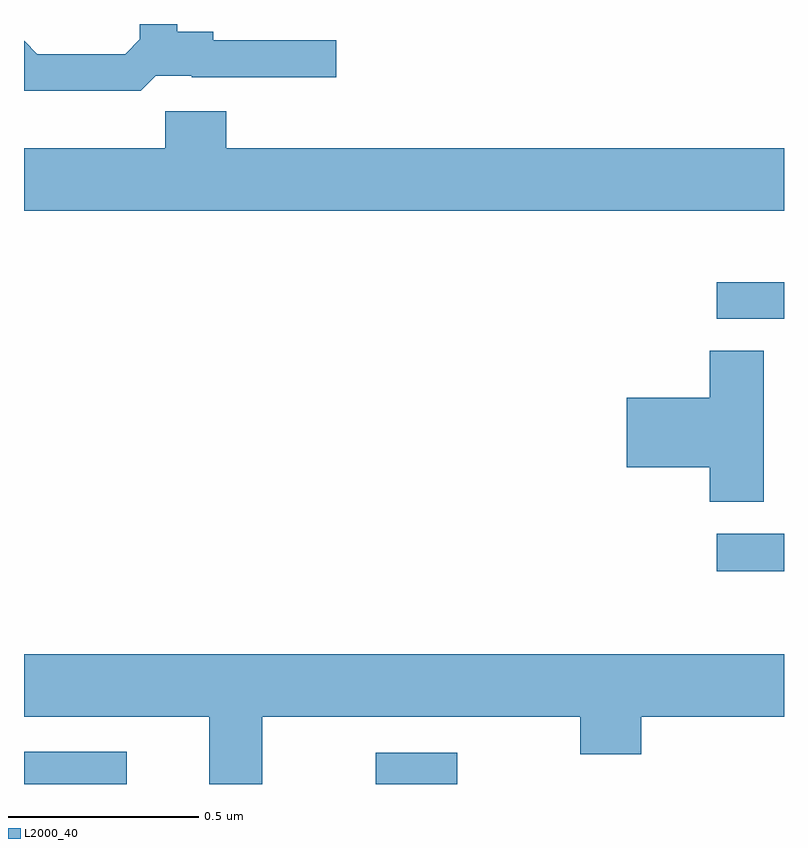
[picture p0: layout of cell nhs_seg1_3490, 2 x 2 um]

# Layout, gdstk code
import gdstk
lib = gdstk.Library(unit=1e-6, precision=1e-09)
def R(c, l, rs):  # rectangles x0, y0, x1, y1
    for r in rs: c.add(gdstk.rectangle(r[:2], r[2:], *l))
def P(c, l, *ps):  # polygons
    for p in ps: c.add(gdstk.Polygon(p, *l))
L2000_40 = (2000, 40)

nhs_seg1_3490 = lib.new_cell('nhs_seg1_3490')
R(nhs_seg1_3490, L2000_40, [(154,574.199,154.27,574.284), (154.925,574.199,155.14,574.281), (155.823,574.759,156,574.857), (155.823,575.424,156,575.52)])
P(nhs_seg1_3490, L2000_40, [(154.347,576.063),(154.441,576.063),(154.441,576.059),(154.822,576.059),(154.822,576.156),(154.498,576.156),(154.498,576.179),(154.403,576.179),(154.403,576.199),(154.305,576.199),(154.305,576.159),(154.266,576.12),(154.035,576.12),(154,576.155),(154,576.024),(154.307,576.024)],
  [(156,575.872),(154.532,575.872),(154.532,575.97),(154.372,575.97),(154.372,575.872),(154,575.872),(154,575.708),(156,575.708)],
  [(155.947,575.339),(155.804,575.339),(155.804,575.216),(155.586,575.216),(155.586,575.033),(155.804,575.033),(155.804,574.942),(155.947,574.942)],
  [(154.627,574.376),(155.464,574.376),(155.464,574.277),(155.624,574.277),(155.624,574.376),(156,574.376),(156,574.54),(154,574.54),(154,574.376),(154.487,574.376),(154.487,574.199),(154.627,574.199)])

lib.write_gds('nhs_seg1_3490.gds')
